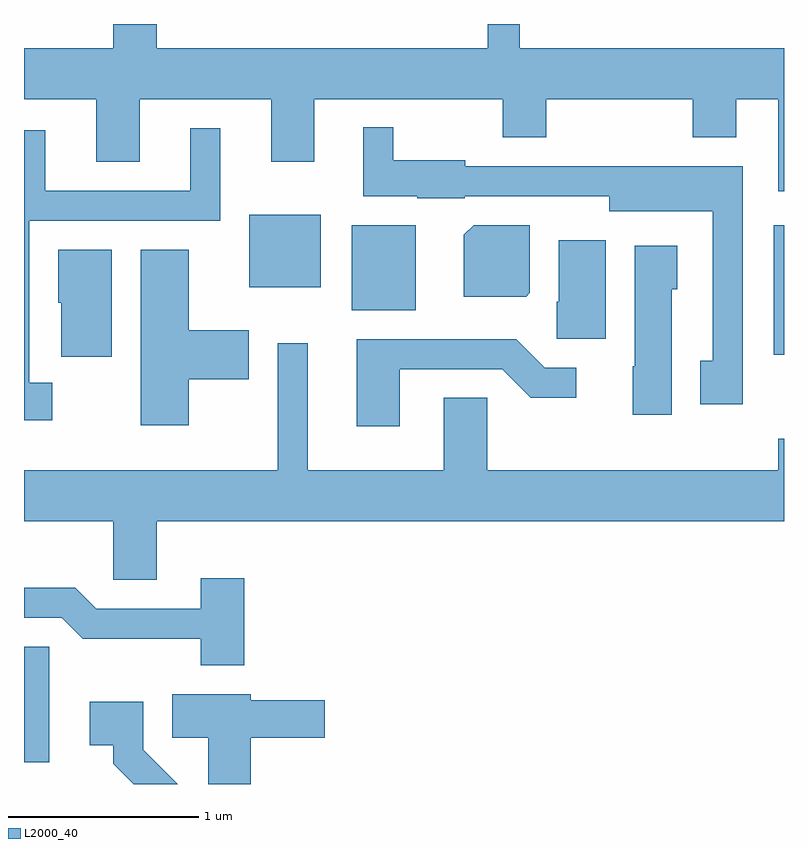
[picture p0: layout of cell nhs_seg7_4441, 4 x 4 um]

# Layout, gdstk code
import gdstk
lib = gdstk.Library(unit=1e-6, precision=1e-09)
def R(c, l, rs):  # rectangles x0, y0, x1, y1
    for r in rs: c.add(gdstk.rectangle(r[:2], r[2:], *l))
def P(c, l, *ps):  # polygons
    for p in ps: c.add(gdstk.Polygon(p, *l))
L2000_40 = (2000, 40)

nhs_seg7_4441 = lib.new_cell('nhs_seg7_4441')
R(nhs_seg7_4441, L2000_40, [(321.611,1726.366,321.744,1726.974), (325.556,1728.511,325.611,1729.194), (323.336,1728.746,323.674,1729.194), (322.796,1728.866,323.174,1729.249)])
P(nhs_seg7_4441, L2000_40, [(325.611,1730.124),(324.219,1730.124),(324.219,1730.252),(324.051,1730.252),(324.051,1730.124),(322.309,1730.124),(322.309,1730.252),(322.081,1730.252),(322.081,1730.124),(321.611,1730.124),(321.611,1729.856),(321.991,1729.856),(321.991,1729.526),(322.219,1729.526),(322.219,1729.856),(322.911,1729.856),(322.911,1729.526),(323.139,1729.526),(323.139,1729.856),(324.131,1729.856),(324.131,1729.656),(324.359,1729.656),(324.359,1729.856),(325.131,1729.856),(325.131,1729.656),(325.359,1729.656),(325.359,1729.856),(325.581,1729.856),(325.581,1729.371),(325.611,1729.371)],
  [(325.394,1729.504),(323.934,1729.504),(323.934,1729.534),(323.554,1729.534),(323.554,1729.708),(323.396,1729.708),(323.396,1729.346),(323.68,1729.346),(323.68,1729.336),(323.93,1729.336),(323.93,1729.346),(324.691,1729.346),(324.691,1729.266),(325.236,1729.266),(325.236,1728.479),(325.171,1728.479),(325.171,1728.251),(325.394,1728.251)],
  [(321.759,1728.364),(321.639,1728.364),(321.639,1729.216),(322.644,1729.216),(322.644,1729.703),(322.486,1729.703),(322.486,1729.374),(321.724,1729.374),(321.724,1729.694),(321.611,1729.694),(321.611,1728.166),(321.759,1728.166)],
  [(324.274,1728.837),(324.274,1729.194),(323.977,1729.194),(323.926,1729.144),(323.926,1728.816),(324.254,1728.816)],
  [(324.674,1729.114),(324.426,1729.114),(324.426,1728.79),(324.416,1728.79),(324.416,1728.596),(324.674,1728.596)],
  [(325.019,1728.856),(325.049,1728.856),(325.049,1729.084),(324.826,1729.084),(324.826,1728.45),(324.816,1728.45),(324.816,1728.196),(325.019,1728.196)],
  [(322.479,1728.381),(322.794,1728.381),(322.794,1728.639),(322.479,1728.639),(322.479,1729.064),(322.226,1729.064),(322.226,1728.141),(322.479,1728.141)],
  [(322.074,1729.064),(321.791,1729.064),(321.791,1728.785),(321.806,1728.785),(321.806,1728.501),(322.074,1728.501)],
  [(323.589,1728.436),(324.129,1728.436),(324.279,1728.286),(324.518,1728.286),(324.518,1728.444),(324.352,1728.444),(324.202,1728.594),(323.361,1728.594),(323.361,1728.136),(323.589,1728.136)],
  [(322.309,1727.636),(325.611,1727.636),(325.611,1728.069),(325.581,1728.069),(325.581,1727.904),(324.049,1727.904),(324.049,1728.284),(323.821,1728.284),(323.821,1727.904),(323.104,1727.904),(323.104,1728.573),(322.946,1728.573),(322.946,1727.904),(321.611,1727.904),(321.611,1727.636),(322.081,1727.636),(322.081,1727.326),(322.309,1727.326)],
  [(322.769,1727.334),(322.541,1727.334),(322.541,1727.174),(321.992,1727.174),(321.882,1727.284),(321.611,1727.284),(321.611,1727.126),(321.809,1727.126),(321.919,1727.016),(322.541,1727.016),(322.541,1726.876),(322.769,1726.876)],
  [(322.804,1726.496),(323.194,1726.496),(323.194,1726.694),(322.804,1726.694),(322.804,1726.724),(322.391,1726.724),(322.391,1726.496),(322.581,1726.496),(322.581,1726.252),(322.804,1726.252)],
  [(322.239,1726.432),(322.239,1726.684),(321.956,1726.684),(321.956,1726.456),(322.081,1726.456),(322.081,1726.359),(322.188,1726.252),(322.419,1726.252)])

lib.write_gds('nhs_seg7_4441.gds')
